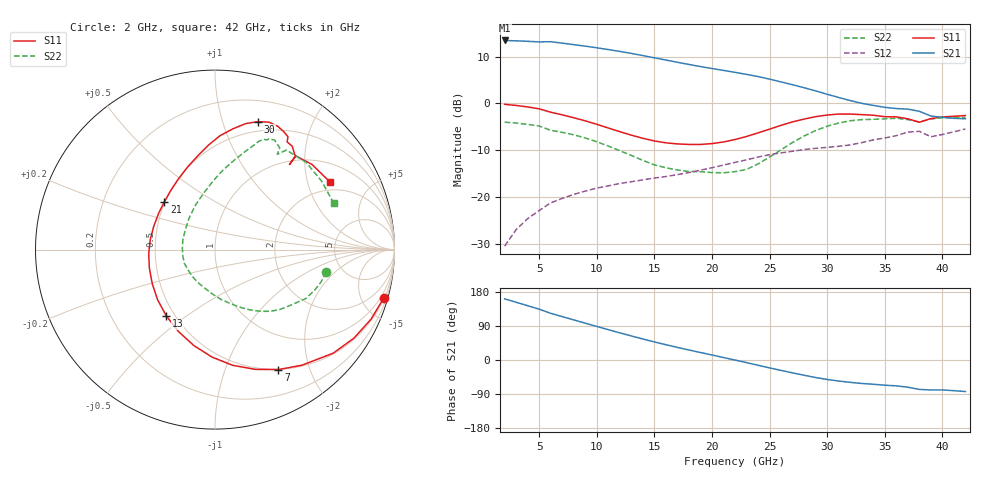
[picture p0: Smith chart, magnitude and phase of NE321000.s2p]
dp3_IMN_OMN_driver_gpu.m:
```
function dp3_IMN_OMN_driver_gpu()

% runs both IMN and OMN networks and compares with target value

clc;
clear;
close all;

% Constants
G = 1e9; M = 1e6; K = 1e3;
m = 1e-3; u = 1e-6; n = 1e-9;
p = 1e-12; f = 1e-15;

% Transistor parameters
Ri = 23.0767;
Ci = 245.2104 * f;
Li = 347.8189 * p;
Ro = 44.0222;
Co = 283.0342 * f;
Lo = 202.0340 * p;
Z0 = 50;

% Frequency specifications
fL = 9*G;
fH = 20*G;
f0 = sqrt(fL*fH);
f_min = 8*G;
f_max = 21*G;
df = 25*M;

% Initialize frequency sweep
freq = f_min:df:f_max;
fx = [fL, f0, fH];
freq = union(freq, fx);
freq = sort(freq);
N_Freq = length(freq);

% IMN & OMN Test
fprintf('========== Running IMN Design ==========\n');
[S_IMN, nt_I, Parts_I, T_IMN] = dp3_IMN_gpu_Placzek();

fprintf('\n========== Running OMN Design ==========\n');
[S_OMN, nt_O, Parts_O, ~, T_OMN] = dp3_OMN_gpu_Placzek();

%% -------------------- Full Circuit Simulation --------------------
fprintf('\n========== Running Full Amplifier Simulation ==========\n');

% Load S-parameter data for transistor
[freq_FET, S_FET, Mult] = Read_SParam_s2p('NE321000.s2p');
freq_FET = freq_FET * Mult;

% Simulate amplifier with both IMN and OMN
S_Amp = zeros(N_Freq, 2, 2);

for kk = 1:N_Freq
    fk = freq(kk);
    
    % Interpolate transistor S-parameters
    Sx = S_Param_Interp(S_FET, freq_FET, fk);
    Tx = S_to_ABCD(Sx, Z0);
    
    % Get IMN and OMN ABCD matrices for this frequency
    T_IMN_k = squeeze(T_IMN(kk, :, :));
    T_OMN_k = squeeze(T_OMN(kk, :, :));
    
    % Cascade: IMN -> Device -> OMN
    T_total = T_IMN_k * Tx * T_OMN_k;
    
    % Convert to S-parameters
    S_Amp(kk, :, :) = ABCD_to_S(T_total, Z0);
end

%% -------------------- Extract S-Parameters --------------------
S11_Amp = S_Amp(:, 1, 1);
S11_Amp_Mag = abs(S11_Amp);
S11_Amp_dB = 20*log10(S11_Amp_Mag);
S21_Amp = S_Amp(:, 2, 1);
S21_Amp_Mag = abs(S21_Amp);
S21_Amp_dB = 20*log10(S21_Amp_Mag);
S22_Amp = S_Amp(:, 2, 2);
S22_Amp_Mag = abs(S22_Amp);
S22_Amp_dB = 20*log10(S22_Amp_Mag);
S12_Amp = S_Amp(:, 1, 2);
S12_Amp_Mag = abs(S12_Amp);
S12_Amp_dB = 20*log10(S12_Amp_Mag);

% Find markers at specific frequencies
I_fx = ismember(freq, fx);
S11_fx_dB = S11_Amp_dB(I_fx);
S21_fx_dB = S21_Amp_dB(I_fx);
S22_fx_dB = S22_Amp_dB(I_fx);

% Check if gain meets specs at f0
I_f0 = find(freq == f0, 1);
if ~isempty(I_f0)
    f0_gain = S21_Amp_dB(I_f0);
    fprintf('Gain at f0 (%.2f GHz): %.2f dB\n', f0/G, f0_gain);
    if abs(f0_gain - 8.15) <= 0.17
        fprintf('✓ Gain meets specification (8.15 dB ± 0.17 dB)\n');
    else
        fprintf('✗ Gain does not meet specification\n');
    end
end

%% -------------------- Plot Results --------------------
figure(1);
plot(freq / G, S21_Amp_dB, 'r', 'LineWidth', 2.5); hold on;
plot(fx / G, S21_Amp_dB(I_fx), 'ro', 'LineWidth', 4);
grid on; grid minor;
xlabel('Frequency (GHz)');
ylabel('|S_{21}| (dB)');
title('Amplifier Gain');
axis([f_min/G, f_max/G, 6, 9]);
legend('S_{21}', 'Marker Points', 'Location', 'best');

figure(2);
plot(freq / G, S11_Amp_dB, 'b', 'LineWidth', 2.5); hold on;
plot(fx / G, S11_Amp_dB(I_fx), 'bo', 'LineWidth', 4);
grid on; grid minor;
xlabel('Frequency (GHz)');
ylabel('|S_{11}| (dB)');
title('Input Return Loss');
axis([f_min/G, f_max/G, -25, 0]);
legend('S_{11}', 'Marker Points', 'Location', 'best');

figure(3);
plot(freq / G, S22_Amp_dB, 'g', 'LineWidth', 2.5); hold on;
plot(fx / G, S22_Amp_dB(I_fx), 'go', 'LineWidth', 4);
grid on; grid minor;
xlabel('Frequency (GHz)');
ylabel('|S_{22}| (dB)');
title('Output Return Loss');
axis([f_min/G, f_max/G, -25, 0]);
legend('S_{22}', 'Marker Points', 'Location', 'best');

fprintf('\nSimulation complete. Please check plots for amplifier performance.\n');
end
```
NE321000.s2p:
! NEC Compound Semiconductor Devices Ltd.
! NE321000
! Ultra Low Noise Pseudomorphic HJ FET
! VDS = 2 V, IDS = 10 mA
#  GHz  S  MA  R  50
!  f  S11  S21  S12  S22
!	 GHz  MAG  ANG  MAG  ANG  MAG  ANG  MAG  ANG
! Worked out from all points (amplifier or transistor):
!   41 points, 2 GHz to 42 GHz, reference 50 ohm
!   highest |S21| = 13.4 dB at 2 GHz (marker M1)
!   |S21| within 3 dB of that: start of sweep to 13.51 GHz
!   unconditionally stable (mu >= 1): 15.53 GHz to 23.93 GHz
!   at 8 GHz: K = 0.63, MSG = 16.0 dB, |S12| = -19.4 dB
!   at 22 GHz: K = 1.03, MAG = 8.5 dB, |S12| = -12.6 dB
!   at 42 GHz: K = 0.97, MSG = 1.1 dB, |S12| = -5.4 dB
!   lowest NFmin = 0.21 dB at 2 GHz
!   S11 on the Smith chart (normalised r, x): 2 GHz: 0.55, -7.13; 7 GHz: 0.50, -1.55; 13 GHz: 0.45, -0.42; 21 GHz: 0.50, +0.31; 30 GHz: 0.40, +1.31; 42 GHz: 1.65, +2.78
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2  0.979 -15.9  4.7 161.4  0.03 0.1  0.631 -11.4
6  0.806 -53.0  4.557 123.2  0.087 59.4  0.517 -37.5
7  0.756 -62.1  4.4 114.5  0.097 55.2  0.492 -42.7
10  0.599 -91.6  3.925 88.6  0.125 43.3  0.39 -59.6
13  0.459 -126.1  3.418 63.5  0.146 32.8  0.279 -83.2
16  0.38 -164.2  2.904 40.4  0.166 24.3  0.206 -118.2
21  0.388 136.7  2.252 6.5  0.22 13.0  0.182 178.7
22  0.412 126.6  2.146 -0.1  0.235 10.2  0.187 163.8
26  0.584 93.5  1.697 -27.5  0.297 -5.1  0.32 101.5
30  0.752 71.5  1.253 -51.3  0.34 -21.7  0.571 72.9
42  0.743 30.5  0.686 -83.2  0.534 -67.4  0.71 21.5
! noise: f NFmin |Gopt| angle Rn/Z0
2  0.21  0.94  3.7  0.31
4  0.22  0.87  8.2  0.31
6  0.24  0.82  13.3  0.32
10  0.28  0.73  24.8  0.32
12  0.31  0.69  31.4  0.31
14  0.38  0.67  38.4  0.31
18  0.52  0.63  53.9  0.29
20  0.59  0.62  62.4  0.28
22  0.66  0.61  71.4  0.27
26  0.79  0.63  90.8  0.23
